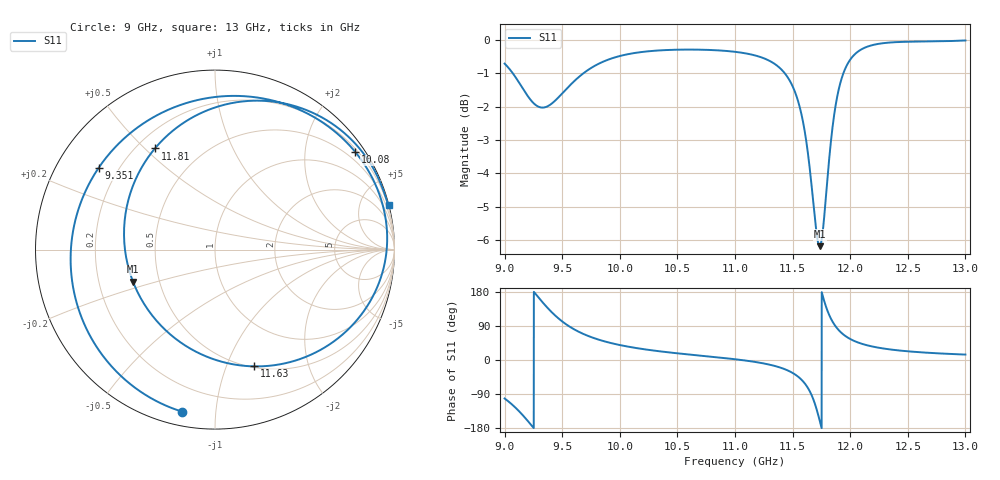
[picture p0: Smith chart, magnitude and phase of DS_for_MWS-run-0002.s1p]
! TOUCHSTONE file generated by CST DESIGN STUDIO
! Date and time: Tue Feb  4 13:53:31 2025
! Project name: C:\Work\MatlabApps\UnitCellOptimizationMatlab\CST\unitcell.cst
! Tree item: Tasks\Sweep1\SPara1\S-Parameters
! Header version: 2024
! Port assignment regex: !\s*Touchstone port\s*([0-9]+)\s*=\s*(CST MWS port|CST DES external port|CST DES block port)\s*(.+)\s* \(\"(.*)\"\)(\s*mode\s*([0-9]+))?.*
! Touchstone port assignment:
! Touchstone port 1 = CST DES external port 1 ("")
# GHz S MA R 50
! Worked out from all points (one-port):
!   4001 points, 9 GHz to 13 GHz, reference 50 ohm
!   lowest |S11| = -6.2 dB at 11.73 GHz (marker M1), VSWR 2.93, Z = 17.6 - j8.28 ohm
!   |S11| at or under -10 dB: nowhere
!   S11 on the Smith chart (normalised r, x): 9 GHz: 0.07, -0.81; 9.351 GHz: 0.13, +0.31; 10.08 GHz: 0.27, +3.18; 11.63 GHz: 0.51, -1.26; 11.81 GHz: 0.27, +0.54; 13 GHz: 0.07, +7.97
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9  0.921 -101.6
9.098  0.8773 -126.9
9.201  0.8235 -160.7
9.273  0.7977 172.8
9.351  0.7923 144.8
9.423  0.8061 122.0
9.5  0.831 101.7
9.597  0.8646 82.1
9.726  0.9016 63.4
10  0.9455 39.5
10.081  0.9523 34.7
10.5  0.9664 17.6
11  0.9594 2.0
11.324  0.9249 -14.0
11.5  0.8519 -34.1
11.568  0.7851 -49.3
11.628  0.6865 -71.4
11.683  0.5622 -106.3
11.734  0.4906 -158.7
11.772  0.5372 158.1
11.815  0.6555 120.7
11.849  0.7453 100.1
11.886  0.82 83.8
11.941  0.8911 67.2
12  0.9337 55.4
12.182  0.9807 36.3
12.5  0.9933 22.9
13  0.9977 14.3
